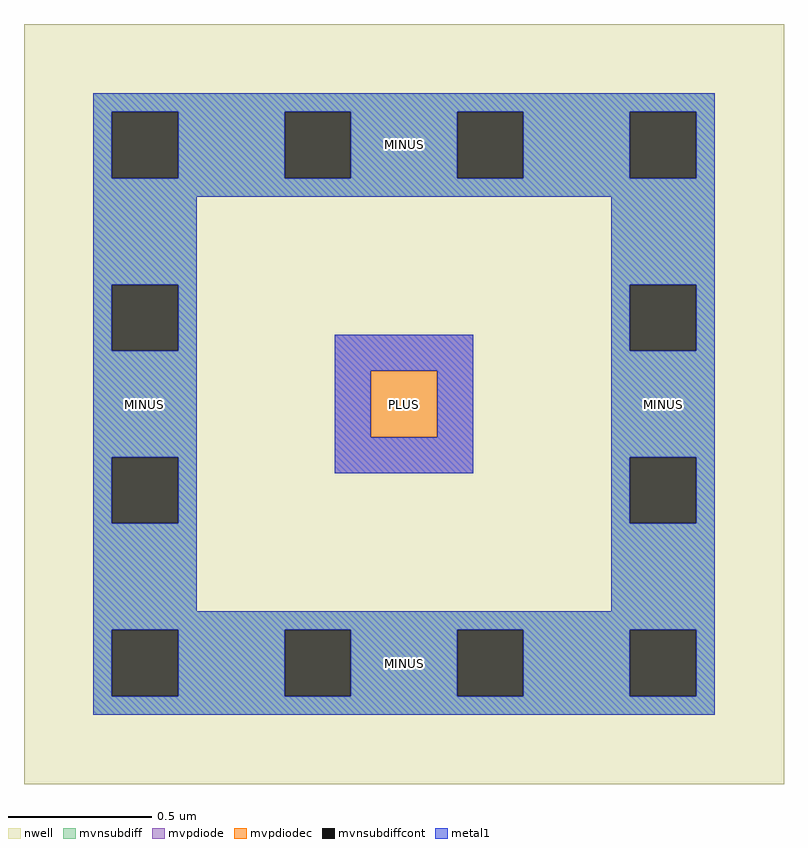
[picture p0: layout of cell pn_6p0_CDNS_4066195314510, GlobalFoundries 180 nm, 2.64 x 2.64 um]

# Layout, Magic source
magic
tech gf180mcuD
magscale 1 10
<< nwell >>
rect -216 -216 312 312
<< mvnsubdiff >>
rect -168 251 264 264
rect -168 205 -155 251
rect -109 205 -35 251
rect 11 205 85 251
rect 131 205 205 251
rect 251 205 264 251
rect -168 192 264 205
rect -168 131 -96 192
rect -168 85 -155 131
rect -109 85 -96 131
rect 192 131 264 192
rect -168 11 -96 85
rect -168 -35 -155 11
rect -109 -35 -96 11
rect 192 85 205 131
rect 251 85 264 131
rect 192 11 264 85
rect -168 -96 -96 -35
rect 192 -35 205 11
rect 251 -35 264 11
rect 192 -96 264 -35
rect -168 -109 264 -96
rect -168 -155 -155 -109
rect -109 -155 -35 -109
rect 11 -155 85 -109
rect 131 -155 205 -109
rect 251 -155 264 -109
rect -168 -168 264 -155
<< mvnsubdiffcont >>
rect -155 205 -109 251
rect -35 205 11 251
rect 85 205 131 251
rect 205 205 251 251
rect -155 85 -109 131
rect -155 -35 -109 11
rect 205 85 251 131
rect 205 -35 251 11
rect -155 -155 -109 -109
rect -35 -155 11 -109
rect 85 -155 131 -109
rect 205 -155 251 -109
<< mvpdiode >>
rect 0 71 96 96
rect 0 25 25 71
rect 71 25 96 71
rect 0 0 96 25
<< mvpdiodec >>
rect 25 25 71 71
<< metal1 >>
rect -168 251 264 264
rect -168 205 -155 251
rect -109 205 -35 251
rect 11 205 85 251
rect 131 205 205 251
rect 251 205 264 251
rect -168 192 264 205
rect -168 131 -96 192
rect -168 85 -155 131
rect -109 85 -96 131
rect 192 131 264 192
rect -168 11 -96 85
rect -168 -35 -155 11
rect -109 -35 -96 11
rect 0 71 96 96
rect 0 25 25 71
rect 71 25 96 71
rect 0 0 96 25
rect 192 85 205 131
rect 251 85 264 131
rect 192 11 264 85
rect -168 -96 -96 -35
rect 192 -35 205 11
rect 251 -35 264 11
rect 192 -96 264 -35
rect -168 -109 264 -96
rect -168 -155 -155 -109
rect -109 -155 -35 -109
rect 11 -155 85 -109
rect 131 -155 205 -109
rect 251 -155 264 -109
rect -168 -168 264 -155
<< labels >>
rlabel metal1 48 -132 48 -132 4 MINUS
rlabel metal1 48 228 48 228 4 MINUS
rlabel metal1 228 48 228 48 4 MINUS
rlabel metal1 -132 48 -132 48 4 MINUS
rlabel mvpdiodec 48 48 48 48 4 PLUS
<< end >>
